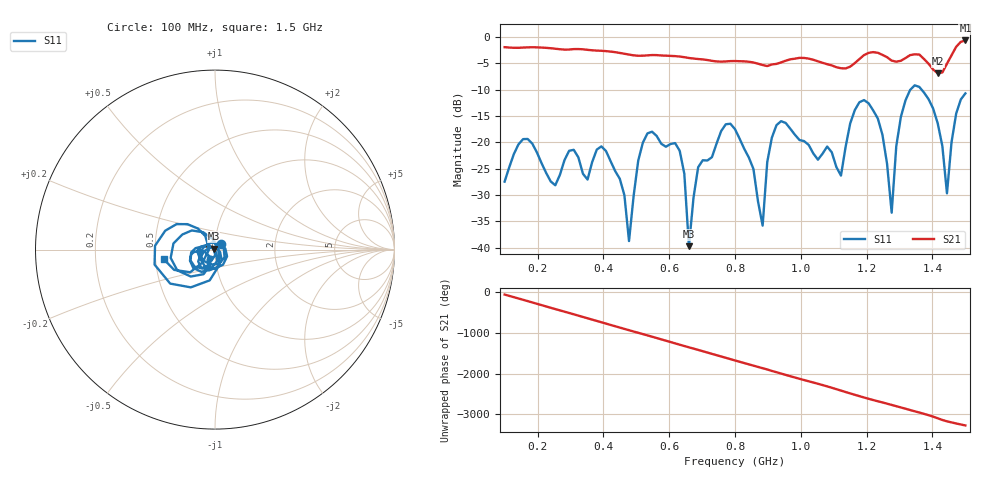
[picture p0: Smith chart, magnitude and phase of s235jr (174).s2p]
! NanoVNA-App
! Date: 2025-09-25 15:05:31
! Start: 100MHz Stop: 1,5GHz Points: 101
! S-Parameter data: F S11 S21 S12 S22
# Hz S RI R 50
!  Frequency  S11_Real  S11_Imag  S21_Real  S21_Imag  S12_Real  S12_Imag  S22_Real  S22_Imag
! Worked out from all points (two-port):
!   101 points, 100 MHz to 1.5 GHz, reference 50 ohm
!   highest |S21| = -0.69 dB at 1.5 GHz (marker M1); lowest = -6.9 dB at 1.416 GHz (marker M2)
!   |S21| within 3 dB of the highest: start of sweep to 623 MHz; 1.188 GHz to 1.256 GHz (68.62 MHz wide, 5.62 % of centre) (the widest 2 of 4)
!   lowest |S11| = -39.7 dB at 660 MHz (marker M3), VSWR 1.02, Z = 49.2 + j0.602 ohm
!   |S11| at or under -10 dB: start of sweep to 1.333 GHz; 1.367 GHz to end of sweep
!   S12 and S22 are empty: the file has one direction only
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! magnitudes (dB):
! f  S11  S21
! 100 MHz  -27.5  -2.0
! 156 MHz  -19.4  -2.0
! 338 MHz  -26.0  -2.4
! 408 MHz  -21.7  -2.7
! 478 MHz  -38.7  -3.4
! 520 MHz  -20.1  -3.6
! 576 MHz  -20.3  -3.5
! 632 MHz  -21.6  -3.7
! 660 MHz  -39.7  -4.0
! 688 MHz  -24.7  -4.2
! 800 MHz  -17.5  -4.6
! 884 MHz  -35.8  -5.4
! 926 MHz  -16.8  -5.1
! 1.038 GHz  -22.1  -4.4
! 1.122 GHz  -26.3  -6.0
! 1.206 GHz  -12.6  -3.0
! 1.276 GHz  -33.4  -4.5
! 1.29 GHz  -20.8  -4.7
! 1.332 GHz  -10.1  -3.5
! 1.416 GHz  -16.4  -6.9
! 1.444 GHz  -29.7  -5.1
! 1.5 GHz  -10.7  -0.7
